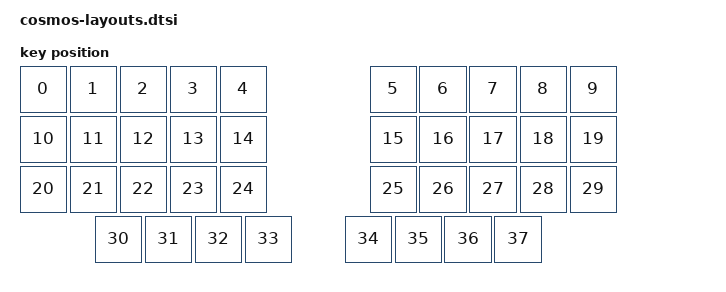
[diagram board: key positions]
#include <physical_layouts.dtsi>


/ {
    cosmos_5x3_4_layout: cosmos_5x3_4_layout {
        compatible = "zmk,physical-layout";
        display-name = "cosmos_5x3_4_layout";
        transform = <&default_transform>;
        kscan = <&kscan0>;
        keys  //                     w   h    x    y     rot    rx    ry
            = <&key_physical_attrs 100 100    0    0       0     0     0>
            , <&key_physical_attrs 100 100  100    0       0     0     0>
            , <&key_physical_attrs 100 100  200    0       0     0     0>
            , <&key_physical_attrs 100 100  300    0       0     0     0>
            , <&key_physical_attrs 100 100  400    0       0     0     0>
            , <&key_physical_attrs 100 100  700    0       0     0     0>
            , <&key_physical_attrs 100 100  800    0       0     0     0>
            , <&key_physical_attrs 100 100  900    0       0     0     0>
            , <&key_physical_attrs 100 100 1000    0       0     0     0>
            , <&key_physical_attrs 100 100 1100    0       0     0     0>
            , <&key_physical_attrs 100 100    0  100       0     0     0>
            , <&key_physical_attrs 100 100  100  100       0     0     0>
            , <&key_physical_attrs 100 100  200  100       0     0     0>
            , <&key_physical_attrs 100 100  300  100       0     0     0>
            , <&key_physical_attrs 100 100  400  100       0     0     0>
            , <&key_physical_attrs 100 100  700  100       0     0     0>
            , <&key_physical_attrs 100 100  800  100       0     0     0>
            , <&key_physical_attrs 100 100  900  100       0     0     0>
            , <&key_physical_attrs 100 100 1000  100       0     0     0>
            , <&key_physical_attrs 100 100 1100  100       0     0     0>
            , <&key_physical_attrs 100 100    0  200       0     0     0>
            , <&key_physical_attrs 100 100  100  200       0     0     0>
            , <&key_physical_attrs 100 100  200  200       0     0     0>
            , <&key_physical_attrs 100 100  300  200       0     0     0>
            , <&key_physical_attrs 100 100  400  200       0     0     0>
            , <&key_physical_attrs 100 100  700  200       0     0     0>
            , <&key_physical_attrs 100 100  800  200       0     0     0>
            , <&key_physical_attrs 100 100  900  200       0     0     0>
            , <&key_physical_attrs 100 100 1000  200       0     0     0>
            , <&key_physical_attrs 100 100 1100  200       0     0     0>
            , <&key_physical_attrs 100 100  150  300       0     0     0>
            , <&key_physical_attrs 100 100  250  300       0     0     0>
            , <&key_physical_attrs 100 100  350  300       0     0     0>
            , <&key_physical_attrs 100 100  450  300       0     0     0>
            , <&key_physical_attrs 100 100  650  300       0     0     0>
            , <&key_physical_attrs 100 100  750  300       0     0     0>
            , <&key_physical_attrs 100 100  850  300       0     0     0>
            , <&key_physical_attrs 100 100  950  300       0     0     0>
            ;
    };
};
